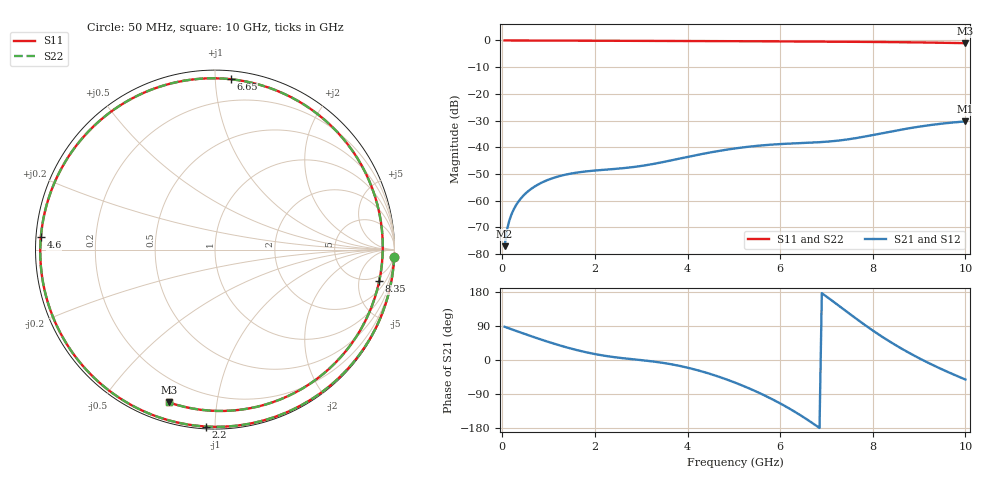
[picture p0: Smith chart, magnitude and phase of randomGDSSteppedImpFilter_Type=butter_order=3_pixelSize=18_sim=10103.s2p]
! freq	dB(S11)	phase(S11)	dB(S12)	phase(S12)
!  dB(S21)	phase(S21)	dB(S22)	phase(S22)
!S-par simulation data
#  GHz  S  DB  R 50
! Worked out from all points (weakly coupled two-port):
!   200 points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, 50 MHz to 10 GHz, reference 50 ohm
!   highest |S21| = -30.33 dB at 10 GHz (marker M1); lowest = -77.1 dB at 50 MHz (marker M2)
!   lowest |S11| = -1.0 dB at 10 GHz (marker M3), VSWR 17.06, Z = 4.54 - j37 ohm
!   |S11| at or under -10 dB: nowhere
!   |S22| runs from -1.0 to 0.0 dB; largest |S21 - S12| = 0
!   S11 on the Smith chart (normalised r, x): 50 MHz: 1, -51; 2.2 GHz: 0.01, -0.95; 4.6 GHz: 0.01, +0.04; 6.65 GHz: 0.05, +1.09; 8.35 GHz: 3.44, -9.19; 10 GHz: 0.09, -0.74
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0.05  -0.01 -2.3  -77.06 87.7  -77.06 87.7  -0.01 -2.3
0.1  -0.01 -4.5  -71.06 85.4  -71.06 85.4  -0.01 -4.5
0.2  -0.01 -8.9  -65.09 81.0  -65.09 81.0  -0.01 -8.9
0.5  -0.03 -22.1  -57.37 68.1  -57.37 68.1  -0.03 -22.1
1  -0.05 -43.8  -52.14 47.5  -52.14 47.5  -0.05 -43.8
1.75  -0.09 -75.0  -49.18 22.1  -49.18 22.1  -0.09 -75.0
2.2  -0.11 -93.0  -48.45 11.4  -48.45 11.4  -0.11 -93.0
2.75  -0.14 -114.3  -47.59 2.8  -47.59 2.8  -0.14 -114.3
3.4  -0.17 -138.8  -45.81 -6.3  -45.81 -6.3  -0.17 -138.8
4  -0.20 -161.2  -43.64 -20.2  -43.64 -20.2  -0.20 -161.2
4.6  -0.24 175.8  -41.62 -41.0  -41.62 -41.0  -0.24 175.8
5.05  -0.27 157.9  -40.39 -60.8  -40.39 -60.8  -0.27 157.9
5.95  -0.35 118.9  -38.87 -111.2  -38.87 -111.2  -0.35 118.9
6.65  -0.41 84.8  -38.30 -162.6  -38.30 -162.6  -0.41 84.8
6.7  -0.42 82.2  -38.25 -166.7  -38.25 -166.7  -0.42 82.2
7.15  -0.46 58.1  -37.71 154.0  -37.71 154.0  -0.46 58.1
7.65  -0.52 30.0  -36.55 108.3  -36.55 108.3  -0.52 30.0
8.35  -0.61 -10.9  -34.26 49.9  -34.26 49.9  -0.61 -10.9
8.75  -0.69 -34.4  -33.00 21.1  -33.00 21.1  -0.69 -34.4
9.2  -0.79 -60.6  -31.80 -7.6  -31.80 -7.6  -0.79 -60.6
9.6  -0.90 -83.7  -30.96 -30.5  -30.96 -30.5  -0.90 -83.7
10  -1.02 -106.7  -30.33 -51.5  -30.33 -51.5  -1.02 -106.7
